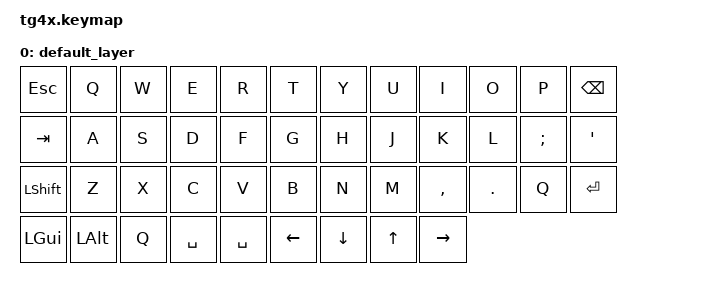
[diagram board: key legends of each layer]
/*
 * Copyright (c) 2020 The ZMK Contributors
 *
 * SPDX-License-Identifier: MIT
 */

#include <behaviors.dtsi>
#include <dt-bindings/zmk/keys.h>
#include <dt-bindings/zmk/rgb.h>

/ {
    behaviors {
        ht: hold_tap {
            compatible = "zmk,behavior-hold-tap";
            #binding-cells = <2>;
            tapping-term-ms = <200>;
            flavor = "tap-preferred";
            bindings = <&kp>, <&kp>;
        };
    };

    combos {
        compatible = "zmk,combos";

        bootloader {
            bindings = <&bootloader>;
            key-positions = <40 11 0 39>;
        };

        Toggle_Under_Light {
            bindings = <&rgb_ug RGB_TOG>;
            key-positions = <36 39 40 44>;
        };
    };

    keymap {
        compatible = "zmk,keymap";

        default_layer {
            bindings = <
&kp ESC    &kp Q     &kp W  &kp E      &kp R      &kp T     &kp Y     &kp U   &kp I      &kp O    &kp P     &kp BSPC
&kp TAB    &kp A     &kp S  &kp D      &kp F      &kp G     &kp H     &kp J   &kp K      &kp L    &kp SEMI  &kp APOS
&kp LSHFT  &kp Z     &kp X  &kp C      &kp V      &kp B     &kp N     &kp M   &kp COMMA  &kp DOT  &kp Q     &kp RET
&kp LGUI   &kp LALT  &kp Q  &kp SPACE  &kp SPACE  &kp LEFT  &kp DOWN  &kp UP  &kp RIGHT
            >;
        };
    };
};
